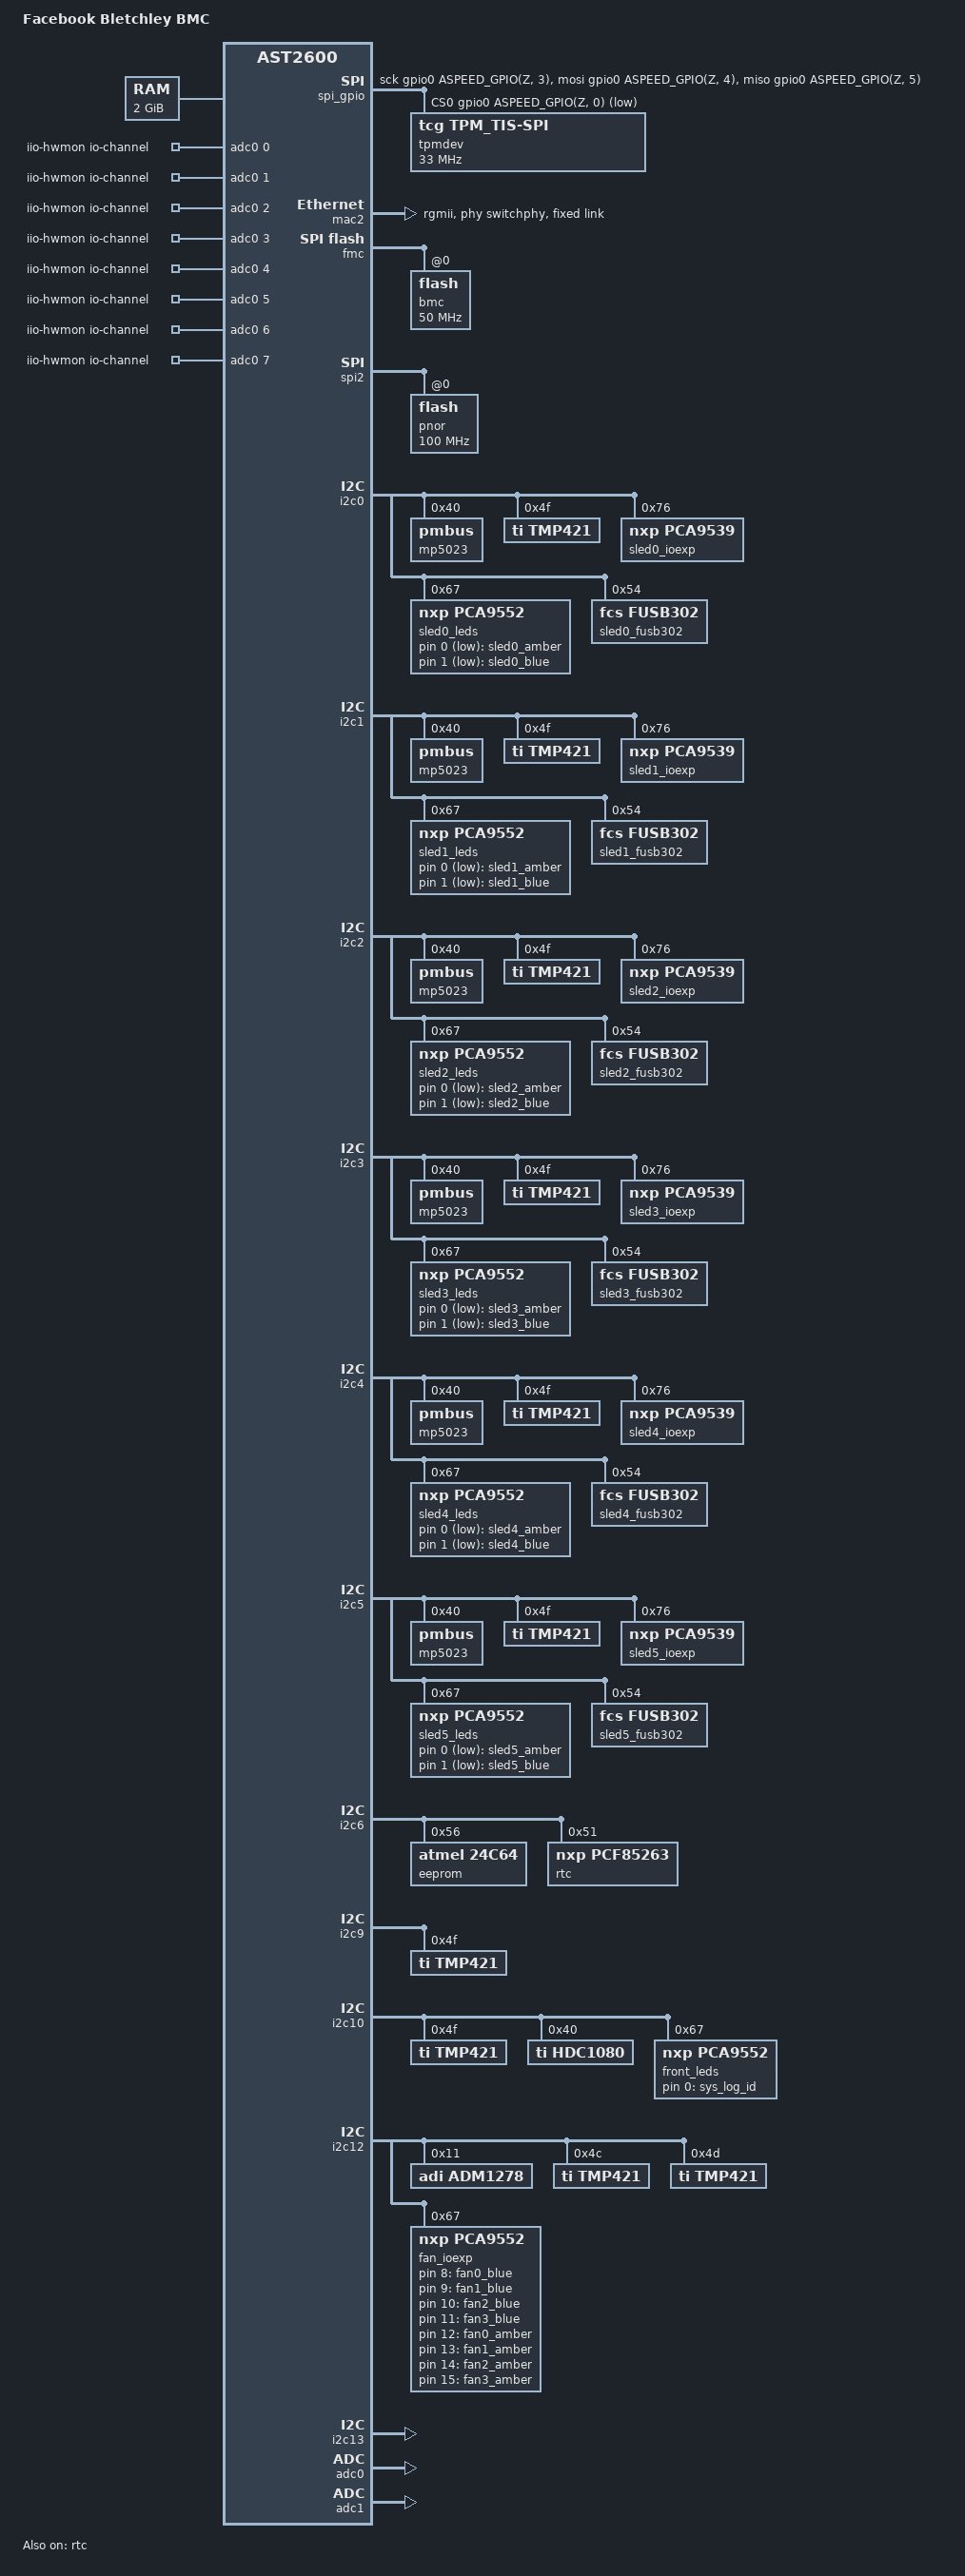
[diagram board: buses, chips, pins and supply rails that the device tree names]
// SPDX-License-Identifier: GPL-2.0+
// Copyright (c) 2021 Facebook Inc.
/dts-v1/;

#include "aspeed-g6.dtsi"
#include <dt-bindings/gpio/aspeed-gpio.h>
#include <dt-bindings/usb/pd.h>

/ {
	model = "Facebook Bletchley BMC";
	compatible = "facebook,bletchley-bmc", "aspeed,ast2600";

	aliases {
		serial4 = &uart5;
	};

	chosen {
		bootargs = "console=ttyS4,57600n8";
	};

	memory@80000000 {
		device_type = "memory";
		reg = <0x80000000 0x80000000>;
	};

	iio-hwmon {
		compatible = "iio-hwmon";
		io-channels = <&adc0 0>, <&adc0 1>, <&adc0 2>, <&adc0 3>,
			<&adc0 4>, <&adc0 5>, <&adc0 6>, <&adc0 7>,
			<&adc1 0>, <&adc1 1>, <&adc1 2>, <&adc1 3>,
			<&adc1 4>, <&adc1 5>, <&adc1 6>, <&adc1 7>;
	};

	spi_gpio: spi-gpio {
		status = "okay";
		compatible = "spi-gpio";
		#address-cells = <1>;
		#size-cells = <0>;

		gpio-sck = <&gpio0 ASPEED_GPIO(Z, 3) GPIO_ACTIVE_HIGH>;
		gpio-mosi = <&gpio0 ASPEED_GPIO(Z, 4) GPIO_ACTIVE_HIGH>;
		gpio-miso = <&gpio0 ASPEED_GPIO(Z, 5) GPIO_ACTIVE_HIGH>;
		num-chipselects = <1>;
		cs-gpios = <&gpio0 ASPEED_GPIO(Z, 0) GPIO_ACTIVE_LOW>;

		tpmdev@0 {
			compatible = "tcg,tpm_tis-spi";
			spi-max-frequency = <33000000>;
			reg = <0>;
		};
	};

	switchphy: ethernet-phy@0 {
		// Fixed-link
	};

	leds {
		compatible = "gpio-leds";

		sys_log_id {
			retain-state-shutdown;
			default-state = "keep";
			gpios = <&front_leds 0 GPIO_ACTIVE_HIGH>;
		};
		fan0_blue {
			retain-state-shutdown;
			default-state = "on";
			gpios = <&fan_ioexp 8 GPIO_ACTIVE_HIGH>;
		};
		fan1_blue {
			retain-state-shutdown;
			default-state = "on";
			gpios = <&fan_ioexp 9 GPIO_ACTIVE_HIGH>;
		};
		fan2_blue {
			retain-state-shutdown;
			default-state = "on";
			gpios = <&fan_ioexp 10 GPIO_ACTIVE_HIGH>;
		};
		fan3_blue {
			retain-state-shutdown;
			default-state = "on";
			gpios = <&fan_ioexp 11 GPIO_ACTIVE_HIGH>;
		};
		fan0_amber {
			retain-state-shutdown;
			default-state = "off";
			gpios = <&fan_ioexp 12 GPIO_ACTIVE_HIGH>;
		};
		fan1_amber {
			retain-state-shutdown;
			default-state = "off";
			gpios = <&fan_ioexp 13 GPIO_ACTIVE_HIGH>;
		};
		fan2_amber {
			retain-state-shutdown;
			default-state = "off";
			gpios = <&fan_ioexp 14 GPIO_ACTIVE_HIGH>;
		};
		fan3_amber {
			retain-state-shutdown;
			default-state = "off";
			gpios = <&fan_ioexp 15 GPIO_ACTIVE_HIGH>;
		};
		sled0_amber {
			retain-state-shutdown;
			default-state = "off";
			gpios = <&sled0_leds 0 GPIO_ACTIVE_LOW>;
		};
		sled0_blue {
			retain-state-shutdown;
			default-state = "off";
			gpios = <&sled0_leds 1 GPIO_ACTIVE_LOW>;
		};
		sled1_amber {
			retain-state-shutdown;
			default-state = "off";
			gpios = <&sled1_leds 0 GPIO_ACTIVE_LOW>;
		};
		sled1_blue {
			retain-state-shutdown;
			default-state = "off";
			gpios = <&sled1_leds 1 GPIO_ACTIVE_LOW>;
		};
		sled2_amber {
			retain-state-shutdown;
			default-state = "off";
			gpios = <&sled2_leds 0 GPIO_ACTIVE_LOW>;
		};
		sled2_blue {
			retain-state-shutdown;
			default-state = "off";
			gpios = <&sled2_leds 1 GPIO_ACTIVE_LOW>;
		};
		sled3_amber {
			retain-state-shutdown;
			default-state = "off";
			gpios = <&sled3_leds 0 GPIO_ACTIVE_LOW>;
		};
		sled3_blue {
			retain-state-shutdown;
			default-state = "off";
			gpios = <&sled3_leds 1 GPIO_ACTIVE_LOW>;
		};
		sled4_amber {
			retain-state-shutdown;
			default-state = "off";
			gpios = <&sled4_leds 0 GPIO_ACTIVE_LOW>;
		};
		sled4_blue {
			retain-state-shutdown;
			default-state = "off";
			gpios = <&sled4_leds 1 GPIO_ACTIVE_LOW>;
		};
		sled5_amber {
			retain-state-shutdown;
			default-state = "off";
			gpios = <&sled5_leds 0 GPIO_ACTIVE_LOW>;
		};
		sled5_blue {
			retain-state-shutdown;
			default-state = "off";
			gpios = <&sled5_leds 1 GPIO_ACTIVE_LOW>;
		};
	};
};

&mac2 {
	status = "okay";
	phy-mode = "rgmii";
	phy-handle = <&switchphy>;
	pinctrl-names = "default";
	pinctrl-0 = <&pinctrl_rgmii3_default>;

	fixed-link {
		speed = <1000>;
		full-duplex;
	};
};

&rtc {
	status = "okay";
};

&fmc {
	status = "okay";
	flash@0 {
		status = "okay";
		m25p,fast-read;
		label = "bmc";
		spi-max-frequency = <50000000>;
#include "openbmc-flash-layout-128.dtsi"
	};
};

&spi2 {
	status = "okay";
	pinctrl-names = "default";
	pinctrl-0 = <&pinctrl_spi2_default>;

	flash@0 {
		status = "okay";
		m25p,fast-read;
		label = "pnor";
		spi-max-frequency = <100000000>;
	};
};

&i2c0 {
	status = "okay";
	/* TODO: Add ADC INA230 */

	mp5023@40 {
		compatible = "pmbus";
		reg = <0x40>;
	};

	tmp421@4f {
		compatible = "ti,tmp421";
		reg = <0x4f>;
	};

	sled0_ioexp: pca9539@76 {
		compatible = "nxp,pca9539";
		reg = <0x76>;
		#address-cells = <1>;
		#size-cells = <0>;
		gpio-controller;
		#gpio-cells = <2>;

		gpio-line-names =
		"","SLED0_BMC_CCG5_INT","SLED0_INA230_ALERT","SLED0_P12V_STBY_ALERT",
		"SLED0_SSD_ALERT","SLED0_MS_DETECT","SLED0_MD_REF_PWM","",
		"SLED0_MD_STBY_RESET","SLED0_MD_IOEXP_EN_FAULT","SLED0_MD_DIR","SLED0_MD_DECAY",
		"SLED0_MD_MODE1","SLED0_MD_MODE2","SLED0_MD_MODE3","power-sled0";
	};

	sled0_leds: pca9552@67 {
		compatible = "nxp,pca9552";
		reg = <0x67>;
		#address-cells = <1>;
		#size-cells = <0>;
		gpio-controller;
		#gpio-cells = <2>;

		gpio-line-names =
		"led-sled0-amber","led-sled0-blue","SLED0_RST_IOEXP","",
		"","","","",
		"","","","",
		"","","","";
	};

	sled0_fusb302: typec-portc@54 {
		compatible = "fcs,fusb302";
		reg = <0x54>;

		connector {
			compatible = "usb-c-connector";
			label = "USB-C";
			power-role = "dual";
			try-power-role = "sink";
			source-pdos = <PDO_FIXED(5000, 3000, PDO_FIXED_USB_COMM)>;
			sink-pdos = <PDO_FIXED(5000, 3000, PDO_FIXED_USB_COMM)
					PDO_VAR(3000, 12000, 3000)
					PDO_PPS_APDO(3000, 11000, 3000)>;
			op-sink-microwatt = <10000000>;
		};
	};
};

&i2c1 {
	status = "okay";
	/* TODO: Add ADC INA230 */

	mp5023@40 {
		compatible = "pmbus";
		reg = <0x40>;
	};

	tmp421@4f {
		compatible = "ti,tmp421";
		reg = <0x4f>;
	};

	sled1_ioexp: pca9539@76 {
		compatible = "nxp,pca9539";
		reg = <0x76>;
		#address-cells = <1>;
		#size-cells = <0>;
		gpio-controller;
		#gpio-cells = <2>;

		gpio-line-names =
		"","SLED1_BMC_CCG5_INT","SLED1_INA230_ALERT","SLED1_P12V_STBY_ALERT",
		"SLED1_SSD_ALERT","SLED1_MS_DETECT","SLED1_MD_REF_PWM","",
		"SLED1_MD_STBY_RESET","SLED1_MD_IOEXP_EN_FAULT","SLED1_MD_DIR","SLED1_MD_DECAY",
		"SLED1_MD_MODE1","SLED1_MD_MODE2","SLED1_MD_MODE3","power-sled1";
	};

	sled1_leds: pca9552@67 {
		compatible = "nxp,pca9552";
		reg = <0x67>;
		#address-cells = <1>;
		#size-cells = <0>;
		gpio-controller;
		#gpio-cells = <2>;

		gpio-line-names =
		"led-sled1-amber","led-sled1-blue","SLED1_RST_IOEXP","",
		"","","","",
		"","","","",
		"","","","";
	};

	sled1_fusb302: typec-portc@54 {
		compatible = "fcs,fusb302";
		reg = <0x54>;

		connector {
			compatible = "usb-c-connector";
			label = "USB-C";
			power-role = "dual";
			try-power-role = "sink";
			source-pdos = <PDO_FIXED(5000, 3000, PDO_FIXED_USB_COMM)>;
			sink-pdos = <PDO_FIXED(5000, 3000, PDO_FIXED_USB_COMM)
					PDO_VAR(3000, 12000, 3000)
					PDO_PPS_APDO(3000, 11000, 3000)>;
			op-sink-microwatt = <10000000>;
		};
	};
};

&i2c1 {
	status = "okay";
};

&i2c2 {
	status = "okay";
	/* TODO: Add ADC INA230 */

	mp5023@40 {
		compatible = "pmbus";
		reg = <0x40>;
	};

	tmp421@4f {
		compatible = "ti,tmp421";
		reg = <0x4f>;
	};

	sled2_ioexp: pca9539@76 {
		compatible = "nxp,pca9539";
		reg = <0x76>;
		#address-cells = <1>;
		#size-cells = <0>;
		gpio-controller;
		#gpio-cells = <2>;

		gpio-line-names =
		"","SLED2_BMC_CCG5_INT","SLED2_INA230_ALERT","SLED2_P12V_STBY_ALERT",
		"SLED2_SSD_ALERT","SLED2_MS_DETECT","SLED2_MD_REF_PWM","",
		"SLED2_MD_STBY_RESET","SLED2_MD_IOEXP_EN_FAULT","SLED2_MD_DIR","SLED2_MD_DECAY",
		"SLED2_MD_MODE1","SLED2_MD_MODE2","SLED2_MD_MODE3","power-sled2";
	};

	sled2_leds: pca9552@67 {
		compatible = "nxp,pca9552";
		reg = <0x67>;
		#address-cells = <1>;
		#size-cells = <0>;
		gpio-controller;
		#gpio-cells = <2>;

		gpio-line-names =
		"led-sled2-amber","led-sled2-blue","SLED2_RST_IOEXP","",
		"","","","",
		"","","","",
		"","","","";
	};

	sled2_fusb302: typec-portc@54 {
		compatible = "fcs,fusb302";
		reg = <0x54>;

		connector {
			compatible = "usb-c-connector";
			label = "USB-C";
			power-role = "dual";
			try-power-role = "sink";
			source-pdos = <PDO_FIXED(5000, 3000, PDO_FIXED_USB_COMM)>;
			sink-pdos = <PDO_FIXED(5000, 3000, PDO_FIXED_USB_COMM)
					PDO_VAR(3000, 12000, 3000)
					PDO_PPS_APDO(3000, 11000, 3000)>;
			op-sink-microwatt = <10000000>;
		};
	};
};

&i2c3 {
	status = "okay";
	/* TODO: Add ADC INA230 */

	mp5023@40 {
		compatible = "pmbus";
		reg = <0x40>;
	};

	tmp421@4f {
		compatible = "ti,tmp421";
		reg = <0x4f>;
	};

	sled3_ioexp: pca9539@76 {
		compatible = "nxp,pca9539";
		reg = <0x76>;
		#address-cells = <1>;
		#size-cells = <0>;
		gpio-controller;
		#gpio-cells = <2>;

		gpio-line-names =
		"","SLED3_BMC_CCG5_INT","SLED3_INA230_ALERT","SLED3_P12V_STBY_ALERT",
		"SLED3_SSD_ALERT","SLED3_MS_DETECT","SLED3_MD_REF_PWM","",
		"SLED3_MD_STBY_RESET","SLED3_MD_IOEXP_EN_FAULT","SLED3_MD_DIR","SLED3_MD_DECAY",
		"SLED3_MD_MODE1","SLED3_MD_MODE2","SLED3_MD_MODE3","power-sled3";
	};

	sled3_leds: pca9552@67 {
		compatible = "nxp,pca9552";
		reg = <0x67>;
		#address-cells = <1>;
		#size-cells = <0>;
		gpio-controller;
		#gpio-cells = <2>;

		gpio-line-names =
		"led-sled3-amber","led-sled3-blue","SLED3_RST_IOEXP","",
		"","","","",
		"","","","",
		"","","","";
	};

	sled3_fusb302: typec-portc@54 {
		compatible = "fcs,fusb302";
		reg = <0x54>;

		connector {
			compatible = "usb-c-connector";
			label = "USB-C";
			power-role = "dual";
			try-power-role = "sink";
			source-pdos = <PDO_FIXED(5000, 3000, PDO_FIXED_USB_COMM)>;
			sink-pdos = <PDO_FIXED(5000, 3000, PDO_FIXED_USB_COMM)
					PDO_VAR(3000, 12000, 3000)
					PDO_PPS_APDO(3000, 11000, 3000)>;
			op-sink-microwatt = <10000000>;
		};
	};
};

&i2c4 {
	status = "okay";
	/* TODO: Add ADC INA230 */

	mp5023@40 {
		compatible = "pmbus";
		reg = <0x40>;
	};

	tmp421@4f {
		compatible = "ti,tmp421";
		reg = <0x4f>;
	};

	sled4_ioexp: pca9539@76 {
		compatible = "nxp,pca9539";
		reg = <0x76>;
		#address-cells = <1>;
		#size-cells = <0>;
		gpio-controller;
		#gpio-cells = <2>;

		gpio-line-names =
		"","SLED4_BMC_CCG5_INT","SLED4_INA230_ALERT","SLED4_P12V_STBY_ALERT",
		"SLED4_SSD_ALERT","SLED4_MS_DETECT","SLED4_MD_REF_PWM","",
		"SLED4_MD_STBY_RESET","SLED4_MD_IOEXP_EN_FAULT","SLED4_MD_DIR","SLED4_MD_DECAY",
		"SLED4_MD_MODE1","SLED4_MD_MODE2","SLED4_MD_MODE3","power-sled4";
	};

	sled4_leds: pca9552@67 {
		compatible = "nxp,pca9552";
		reg = <0x67>;
		#address-cells = <1>;
		#size-cells = <0>;
		gpio-controller;
		#gpio-cells = <2>;

		gpio-line-names =
		"led-sled4-amber","led-sled4-blue","SLED4_RST_IOEXP","",
		"","","","",
		"","","","",
		"","","","";
	};

	sled4_fusb302: typec-portc@54 {
		compatible = "fcs,fusb302";
		reg = <0x54>;

		connector {
			compatible = "usb-c-connector";
			label = "USB-C";
			power-role = "dual";
			try-power-role = "sink";
			source-pdos = <PDO_FIXED(5000, 3000, PDO_FIXED_USB_COMM)>;
			sink-pdos = <PDO_FIXED(5000, 3000, PDO_FIXED_USB_COMM)
					PDO_VAR(3000, 12000, 3000)
					PDO_PPS_APDO(3000, 11000, 3000)>;
			op-sink-microwatt = <10000000>;
		};
	};
};

&i2c5 {
	status = "okay";
	/* TODO: Add ADC INA230 */

	mp5023@40 {
		compatible = "pmbus";
		reg = <0x40>;
	};

	tmp421@4f {
		compatible = "ti,tmp421";
		reg = <0x4f>;
	};

	sled5_ioexp: pca9539@76 {
		compatible = "nxp,pca9539";
		reg = <0x76>;
		#address-cells = <1>;
		#size-cells = <0>;
		gpio-controller;
		#gpio-cells = <2>;

		gpio-line-names =
		"","SLED5_BMC_CCG5_INT","SLED5_INA230_ALERT","SLED5_P12V_STBY_ALERT",
		"SLED5_SSD_ALERT","SLED5_MS_DETECT","SLED5_MD_REF_PWM","",
		"SLED5_MD_STBY_RESET","SLED5_MD_IOEXP_EN_FAULT","SLED5_MD_DIR","SLED5_MD_DECAY",
		"SLED5_MD_MODE1","SLED5_MD_MODE2","SLED5_MD_MODE3","power-sled5";
	};

	sled5_leds: pca9552@67 {
		compatible = "nxp,pca9552";
		reg = <0x67>;
		#address-cells = <1>;
		#size-cells = <0>;
		gpio-controller;
		#gpio-cells = <2>;

		gpio-line-names =
		"led-sled5-amber","led-sled5-blue","SLED5_RST_IOEXP","",
		"","","","",
		"","","","",
		"","","","";
	};

	sled5_fusb302: typec-portc@54 {
		compatible = "fcs,fusb302";
		reg = <0x54>;

		connector {
			compatible = "usb-c-connector";
			label = "USB-C";
			power-role = "dual";
			try-power-role = "sink";
			source-pdos = <PDO_FIXED(5000, 3000, PDO_FIXED_USB_COMM)>;
			sink-pdos = <PDO_FIXED(5000, 3000, PDO_FIXED_USB_COMM)
					PDO_VAR(3000, 12000, 3000)
					PDO_PPS_APDO(3000, 11000, 3000)>;
			op-sink-microwatt = <10000000>;
		};
	};
};

&i2c6 {
	status = "okay";

	eeprom@56 {
		compatible = "atmel,24c64";
		reg = <0x56>;
	};

	rtc@51 {
		compatible = "nxp,pcf85263";
		reg = <0x51>;
	};
};

&i2c9 {
	status = "okay";

	tmp421@4f {
		compatible = "ti,tmp421";
		reg = <0x4f>;
	};
};

&i2c10 {
	status = "okay";

	tmp421@4f {
		compatible = "ti,tmp421";
		reg = <0x4f>;
	};

	hdc1080@40 {
		compatible = "ti,hdc1080";
		reg = <0x40>;
	};

	front_leds: pca9552@67 {
		compatible = "nxp,pca9552";
		reg = <0x67>;
		#address-cells = <1>;
		#size-cells = <0>;
		gpio-controller;
		#gpio-cells = <2>;

		gpio-line-names =
		"led-fault-identify","power-p5v-stby-good",
		"power-p1v0-dvdd-good","power-p1v0-avdd-good",
		"","","","",
		"","","","",
		"","","","";
	};
};

&i2c12 {
	status = "okay";

	adm1278@11 {
		compatible = "adi,adm1278";
		reg = <0x11>;
	};

	tmp421@4c {
		compatible = "ti,tmp421";
		reg = <0x4c>;
	};

	tmp421@4d {
		compatible = "ti,tmp421";
		reg = <0x4d>;
	};

	fan_ioexp: pca9552@67 {
		compatible = "nxp,pca9552";
		reg = <0x67>;
		#address-cells = <1>;
		#size-cells = <0>;
		gpio-controller;
		#gpio-cells = <2>;

		gpio-line-names =
		"presence-fan0","presence-fan1",
		"presence-fan2","presence-fan3",
		"power-fan0-good","power-fan1-good",
		"power-fan2-good","power-fan3-good",
		"","","","",
		"","","","";
	};
};

&i2c13 {
	multi-master;
	aspeed,hw-timeout-ms = <1000>;
	status = "okay";
};

&gpio0 {
	gpio-line-names =
	/*A0-A7*/	"","","","","","","","",
	/*B0-B7*/	"","","","","","","","",
	/*C0-C7*/	"","","","","","","","",
	/*D0-D7*/	"","","","","","","","",
	/*E0-E7*/	"","","","","","","","",
	/*F0-F7*/	"","","","","","","","",
	/*G0-G7*/	"","","","","","","","",
	/*H0-H7*/	"presence-riser1","presence-riser2",
			"presence-sled0","presence-sled1",
			"presence-sled2","presence-sled3",
			"presence-sled4","presence-sled5",
	/*I0-I7*/	"","","","","","","","",
	/*J0-J7*/	"","","","","","","","",
	/*K0-K7*/	"","","","","","","","",
	/*L0-L7*/	"","","","","","","","",
	/*M0-M7*/	"alert_sled0","alert_sled1",
			"alert_sled2","alert_sled3",
			"alert_sled4","alert_sled5",
			"p12v_aux_alert1","",
	/*N0-N7*/	"","","","","","","","",
	/*O0-O7*/	"","","","","","","","",
	/*P0-P7*/	"","","","","","","","",
	/*Q0-Q7*/	"","","","","","","","",
	/*R0-R7*/	"","","","","","","","",
	/*S0-S7*/	"","","","","","","","",
	/*T0-T7*/	"","","","","","","","",
	/*U0-U7*/	"","","","","","","","",
	/*V0-V7*/	"","","","","","","","",
	/*W0-W7*/	"","","","","","","","",
	/*X0-X7*/	"","","","","","","","",
	/*Y0-Y7*/	"","","","","","","","",
	/*Z0-Z7*/	"","","","","","","","";
};

&adc0 {
	vref = <1800>;
	status = "okay";

	pinctrl-names = "default";
	pinctrl-0 = <&pinctrl_adc0_default &pinctrl_adc1_default
		&pinctrl_adc2_default &pinctrl_adc3_default
		&pinctrl_adc4_default &pinctrl_adc5_default
		&pinctrl_adc6_default &pinctrl_adc7_default>;
};

&adc1 {
	vref = <2500>;
	status = "okay";

	pinctrl-names = "default";
	pinctrl-0 = <&pinctrl_adc8_default &pinctrl_adc9_default
		&pinctrl_adc10_default &pinctrl_adc11_default
		&pinctrl_adc12_default &pinctrl_adc13_default
		&pinctrl_adc14_default &pinctrl_adc15_default>;
};
